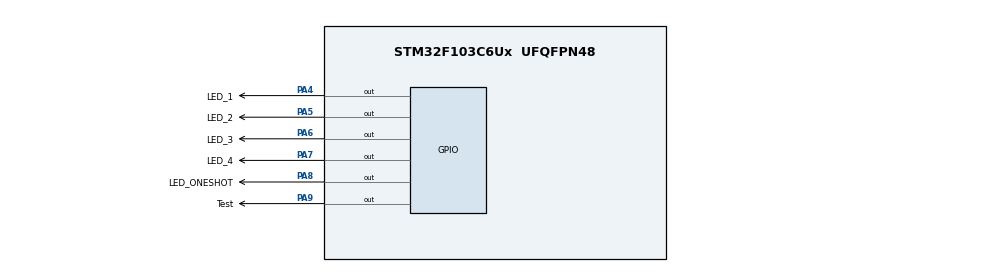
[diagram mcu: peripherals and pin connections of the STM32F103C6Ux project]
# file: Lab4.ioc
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Mcu.Family=STM32F1
Mcu.Name=STM32F103C6Ux
Mcu.Package=UFQFPN48
NVIC.PriorityGroup=NVIC_PRIORITYGROUP_4
NVIC.TIM2_IRQn=true\:0\:0\:false\:false\:true\:true\:true
PA4.GPIO_Label=LED_1
PA4.Signal=GPIO_Output
PA5.GPIO_Label=LED_2
PA5.Signal=GPIO_Output
PA6.GPIO_Label=LED_3
PA6.Signal=GPIO_Output
PA7.GPIO_Label=LED_4
PA7.Signal=GPIO_Output
PA8.GPIO_Label=LED_ONESHOT
PA8.Signal=GPIO_Output
PA9.GPIO_Label=Test
PA9.Signal=GPIO_Output
ProjectManager.HeapSize=0x200
ProjectManager.StackSize=0x400
ProjectManager.TargetToolchain=STM32CubeIDE
RCC.APB1Freq_Value=8000000
RCC.APB2Freq_Value=8000000
TIM2.Period=9
TIM2.Prescaler=7999
VP_SYS_VS_ND.Mode=No_Debug
VP_TIM2_VS_ClockSourceINT.Mode=Internal
board=custom

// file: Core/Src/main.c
/* USER CODE BEGIN Header */
/**
  ******************************************************************************
  * @file           : main.c
  * @brief          : Main program body
  ******************************************************************************
  * @attention
  *
  * <h2><center>&copy; Copyright (c) 2023 STMicroelectronics.
  * All rights reserved.</center></h2>
  *
  * This software component is licensed by ST under BSD 3-Clause license,
  * the "License"; You may not use this file except in compliance with the
  * License. You may obtain a copy of the License at:
  *                        opensource.org/licenses/BSD-3-Clause
  *
  ******************************************************************************
  */
/* USER CODE END Header */
#include "main.h"

/* USER CODE BEGIN Includes */
#include "scheduler.h"
/* USER CODE END Includes */

TIM_HandleTypeDef htim2;

void SystemClock_Config(void);
static void MX_GPIO_Init(void);
static void MX_TIM2_Init(void);

/* USER CODE BEGIN 0 */
void led1test(){
	HAL_GPIO_TogglePin(LED_1_GPIO_Port, LED_1_Pin);
}
void led2test(){
	HAL_GPIO_TogglePin(LED_2_GPIO_Port, LED_2_Pin);
}
void led3test(){
	HAL_GPIO_TogglePin(LED_3_GPIO_Port, LED_3_Pin);
}
void led4test(){
	HAL_GPIO_TogglePin(LED_4_GPIO_Port, LED_4_Pin);
}
void led5test(){
	HAL_GPIO_TogglePin(LED_ONESHOT_GPIO_Port, LED_ONESHOT_Pin);
}
/* USER CODE END 0 */

int main(void)
{

  /* MCU Configuration--------------------------------------------------------*/

  /* Reset of all peripherals, Initializes the Flash interface and the Systick. */
  HAL_Init();

  /* Configure the system clock */
  SystemClock_Config();

  /* Initialize all configured peripherals */
  MX_GPIO_Init();
  MX_TIM2_Init();
  /* USER CODE BEGIN 2 */
  HAL_TIM_Base_Start_IT(&htim2);
  /* USER CODE END 2 */

  /* Infinite loop */
  /* USER CODE BEGIN WHILE */
  SCH_Init();

  SCH_Add_Task(led1test, 50, 50);
  SCH_Add_Task(led2test, 100, 0);
  SCH_Add_Task(led3test, 150, 150);
  SCH_Add_Task(led4test, 200, 200);
  SCH_Add_Task(led5test, 250, 0);
  while (1)
  {
    /* USER CODE END WHILE */
	  SCH_Dispatch_Tasks();
  }
}

void SystemClock_Config(void)
{
  RCC_OscInitTypeDef RCC_OscInitStruct = {0};
  RCC_ClkInitTypeDef RCC_ClkInitStruct = {0};

  /** Initializes the RCC Oscillators according to the specified parameters
  * in the RCC_OscInitTypeDef structure.
  */
  RCC_OscInitStruct.OscillatorType = RCC_OSCILLATORTYPE_HSI;
  RCC_OscInitStruct.HSIState = RCC_HSI_ON;
  RCC_OscInitStruct.HSICalibrationValue = RCC_HSICALIBRATION_DEFAULT;
  RCC_OscInitStruct.PLL.PLLState = RCC_PLL_NONE;
  if (HAL_RCC_OscConfig(&RCC_OscInitStruct) != HAL_OK)
  {
    Error_Handler();
  }
  /** Initializes the CPU, AHB and APB buses clocks
  */
  RCC_ClkInitStruct.ClockType = RCC_CLOCKTYPE_HCLK|RCC_CLOCKTYPE_SYSCLK
                              |RCC_CLOCKTYPE_PCLK1|RCC_CLOCKTYPE_PCLK2;
  RCC_ClkInitStruct.SYSCLKSource = RCC_SYSCLKSOURCE_HSI;
  RCC_ClkInitStruct.AHBCLKDivider = RCC_SYSCLK_DIV1;
  RCC_ClkInitStruct.APB1CLKDivider = RCC_HCLK_DIV1;
  RCC_ClkInitStruct.APB2CLKDivider = RCC_HCLK_DIV1;

  if (HAL_RCC_ClockConfig(&RCC_ClkInitStruct, FLASH_LATENCY_0) != HAL_OK)
  {
    Error_Handler();
  }
}

static void MX_TIM2_Init(void)
{

  TIM_ClockConfigTypeDef sClockSourceConfig = {0};
  TIM_MasterConfigTypeDef sMasterConfig = {0};

  htim2.Instance = TIM2;
  htim2.Init.Prescaler = 7999;
  htim2.Init.CounterMode = TIM_COUNTERMODE_UP;
  htim2.Init.Period = 9;
  htim2.Init.ClockDivision = TIM_CLOCKDIVISION_DIV1;
  htim2.Init.AutoReloadPreload = TIM_AUTORELOAD_PRELOAD_DISABLE;
  if (HAL_TIM_Base_Init(&htim2) != HAL_OK)
  {
    Error_Handler();
  }
  sClockSourceConfig.ClockSource = TIM_CLOCKSOURCE_INTERNAL;
  if (HAL_TIM_ConfigClockSource(&htim2, &sClockSourceConfig) != HAL_OK)
  {
    Error_Handler();
  }
  sMasterConfig.MasterOutputTrigger = TIM_TRGO_RESET;
  sMasterConfig.MasterSlaveMode = TIM_MASTERSLAVEMODE_DISABLE;
  if (HAL_TIMEx_MasterConfigSynchronization(&htim2, &sMasterConfig) != HAL_OK)
  {
    Error_Handler();
  }

}

static void MX_GPIO_Init(void)
{
  GPIO_InitTypeDef GPIO_InitStruct = {0};

  /* GPIO Ports Clock Enable */
  __HAL_RCC_GPIOA_CLK_ENABLE();

  /*Configure GPIO pin Output Level */
  HAL_GPIO_WritePin(GPIOA, LED_1_Pin|LED_2_Pin|LED_3_Pin|LED_4_Pin
                          |LED_ONESHOT_Pin|Test_Pin, GPIO_PIN_RESET);

  /*Configure GPIO pins : LED_1_Pin LED_2_Pin LED_3_Pin LED_4_Pin
                           LED_ONESHOT_Pin Test_Pin */
  GPIO_InitStruct.Pin = LED_1_Pin|LED_2_Pin|LED_3_Pin|LED_4_Pin
                          |LED_ONESHOT_Pin|Test_Pin;
  GPIO_InitStruct.Mode = GPIO_MODE_OUTPUT_PP;
  GPIO_InitStruct.Pull = GPIO_NOPULL;
  GPIO_InitStruct.Speed = GPIO_SPEED_FREQ_LOW;
  HAL_GPIO_Init(GPIOA, &GPIO_InitStruct);

}

/* USER CODE BEGIN 4 */
void HAL_TIM_PeriodElapsedCallback(TIM_HandleTypeDef *htim) {
	SCH_Update();
}
/* USER CODE END 4 */

void Error_Handler(void)
{
  __disable_irq();
  while (1)
  {
  }
}

/************************ (C) COPYRIGHT STMicroelectronics *****END OF FILE****/
